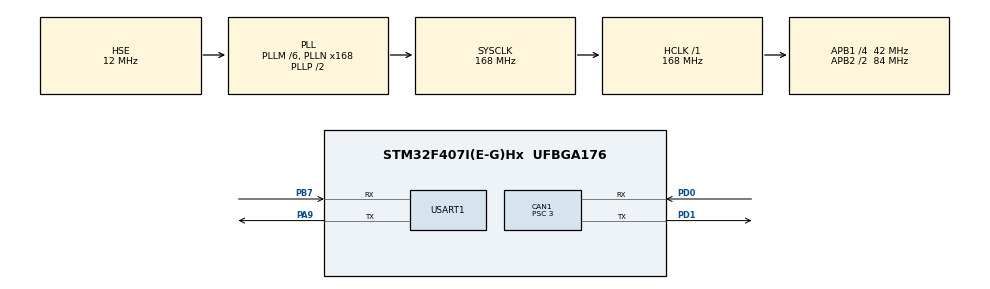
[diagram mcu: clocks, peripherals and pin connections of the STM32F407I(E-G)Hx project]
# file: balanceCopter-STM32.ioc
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CAN1.BS1=CAN_BS1_10TQ
CAN1.BS2=CAN_BS2_3TQ
CAN1.CalculateBaudRate=1000000
CAN1.CalculateTimeBit=1000
CAN1.CalculateTimeQuantum=71.42857142857143
CAN1.Prescaler=3
Dma.Request0=USART1_RX
Dma.USART1_RX.0.Direction=DMA_PERIPH_TO_MEMORY
Dma.USART1_RX.0.FIFOMode=DMA_FIFOMODE_DISABLE
Dma.USART1_RX.0.Instance=DMA2_Stream2
Dma.USART1_RX.0.MemDataAlignment=DMA_MDATAALIGN_BYTE
Dma.USART1_RX.0.MemInc=DMA_MINC_ENABLE
Dma.USART1_RX.0.Mode=DMA_NORMAL
Dma.USART1_RX.0.PeriphDataAlignment=DMA_PDATAALIGN_BYTE
Dma.USART1_RX.0.PeriphInc=DMA_PINC_DISABLE
Dma.USART1_RX.0.Priority=DMA_PRIORITY_MEDIUM
FREERTOS.Tasks01=defaultTask,24,128,StartDefaultTask,Default,NULL,Dynamic,NULL,NULL
FREERTOS.configUSE_NEWLIB_REENTRANT=1
Mcu.Family=STM32F4
Mcu.Name=STM32F407I(E-G)Hx
Mcu.Package=UFBGA176
NVIC.CAN1_RX0_IRQn=true\:7\:0\:true\:false\:true\:true\:true\:true\:true
NVIC.DMA2_Stream2_IRQn=true\:5\:0\:false\:false\:true\:true\:false\:true\:true
NVIC.PriorityGroup=NVIC_PRIORITYGROUP_4
NVIC.USART1_IRQn=true\:6\:0\:true\:false\:true\:true\:true\:true\:true
PA13.Mode=Serial_Wire
PA13.Signal=SYS_JTMS-SWDIO
PA14.Mode=Serial_Wire
PA14.Signal=SYS_JTCK-SWCLK
PA9.Mode=Asynchronous
PA9.Signal=USART1_TX
PB7.Mode=Asynchronous
PB7.Signal=USART1_RX
PD0.Mode=CAN_Activate
PD0.Signal=CAN1_RX
PD1.Mode=CAN_Activate
PD1.Signal=CAN1_TX
PH0-OSC_IN.Mode=HSE-External-Oscillator
PH0-OSC_IN.Signal=RCC_OSC_IN
PH1-OSC_OUT.Mode=HSE-External-Oscillator
PH1-OSC_OUT.Signal=RCC_OSC_OUT
ProjectManager.HeapSize=0x2000
ProjectManager.StackSize=0x2000
ProjectManager.TargetToolchain=STM32CubeIDE
RCC.48MHZClocksFreq_Value=84000000
RCC.AHBFreq_Value=168000000
RCC.APB1CLKDivider=RCC_HCLK_DIV4
RCC.APB1Freq_Value=42000000
RCC.APB1TimFreq_Value=84000000
RCC.APB2CLKDivider=RCC_HCLK_DIV2
RCC.APB2Freq_Value=84000000
RCC.APB2TimFreq_Value=168000000
RCC.CortexFreq_Value=168000000
RCC.HCLKFreq_Value=168000000
RCC.HSE_VALUE=12000000
RCC.HSI_VALUE=16000000
RCC.LSE_VALUE=32768
RCC.PLLM=6
RCC.PLLN=168
RCC.PLLSourceVirtual=RCC_PLLSOURCE_HSE
RCC.SYSCLKFreq_VALUE=168000000
RCC.SYSCLKSource=RCC_SYSCLKSOURCE_PLLCLK
RCC.VCOOutputFreq_Value=336000000
USART1.VirtualMode=VM_ASYNC
VP_FREERTOS_VS_CMSIS_V2.Mode=CMSIS_V2
board=custom

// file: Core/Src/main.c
/* USER CODE BEGIN Header */
/**
  ******************************************************************************
  * @file           : main.c
  * @brief          : Main program body
  ******************************************************************************
  * @attention
  *
  * Copyright (c) 2023 STMicroelectronics.
  * All rights reserved.
  *
  * This software is licensed under terms that can be found in the LICENSE file
  * in the root directory of this software component.
  * If no LICENSE file comes with this software, it is provided AS-IS.
  *
  ******************************************************************************
  */
/* USER CODE END Header */
#include "main.h"
#include "cmsis_os.h"
#include "can.h"
#include "dma.h"
#include "usart.h"
#include "gpio.h"

/* USER CODE BEGIN Includes */
#include "CAN_receive.h"
#include "bsp_can.h"
#include "pid.h"

#include "bsp_uart.h"
/* USER CODE END Includes */

void SystemClock_Config(void);
void MX_FREERTOS_Init(void);

/* USER CODE BEGIN 0 */

//pid_type_def motor_pid_1;            // 澹版槑PID鏁版嵁缁撴�?�锟�????????
//pid_type_def motor_pid_2;

//const fp32 PID[3] = {6.0, 0.3, 0.1 }; // P,I,D鍙傛�?????

/* USER CODE END 0 */

int main(void)
{

  /* MCU Configuration--------------------------------------------------------*/

  /* Reset of all peripherals, Initializes the Flash interface and the Systick. */
  HAL_Init();

  /* Configure the system clock */
  SystemClock_Config();

  /* Initialize all configured peripherals */
  MX_GPIO_Init();
  MX_DMA_Init();
  MX_CAN1_Init();
  MX_USART1_UART_Init();
  /* USER CODE BEGIN 2 */

//  can_filter_init();
//  PID_init(&motor_pid_1, PID_POSITION, PID, 16000, 2000); // PID缁撴瀯浣擄紝PID璁＄畻妯″紡锛孭ID鍙傛暟锛屾渶澶э拷?锟斤紝锟�????????澶锟�???
//  PID_init(&motor_pid_2, PID_POSITION, PID, 16000, 2000); // PID缁撴瀯浣擄紝PID璁＄畻妯″紡锛孭ID鍙傛暟锛屾渶澶э拷?锟斤紝锟�????????澶锟�???
//  motor_data_1 = get_chassis_motor_measure_point(0);      // 鑾峰彇ID锟�???1鍙风殑鐢垫満鏁版嵁鎸囬拡
//  motor_data_2 = get_chassis_motor_measure_point(1);      // 鑾峰彇ID锟�???2鍙风殑鐢垫満鏁版嵁鎸囬拡

  /* USER CODE END 2 */

  /* Init scheduler */
  osKernelInitialize();  /* Call init function for freertos objects (in freertos.c) */
  MX_FREERTOS_Init();

  /* Start scheduler */
  osKernelStart();
  /* We should never get here as control is now taken by the scheduler */
  /* Infinite loop */
  while (1)
  {

    /* USER CODE BEGIN 3 */
//	bsp_uart1_rx();
//	  current_tick = HAL_GetTick();
//
//	  if((current_tick-last_tick)>10)
//	  {
//		  last_tick = current_tick;
//
//		  bsp_uart1_set_wheel_speed(motor_wheel_left, motor_wheel_right);
//		  bsp_uart1_tx();
//	  }

	/////////////////////////////////
//	CAN_get_Motor_Data(&hcan1);
	/////////////////////////////////
//	motor_target_f_left = 1000;
//	motor_target_f_right = 1000;

//	motor_wheel_left =  (float)motor_data_1->speed_rpm *motor_low_pass_alpha + (1-motor_low_pass_alpha) * motor_wheel_left; //�??阶低通滤�??
//	motor_wheel_right =  (float)motor_data_2->speed_rpm *motor_low_pass_alpha + (1-motor_low_pass_alpha) * motor_wheel_right; //�??阶低通滤�??
//	  motor_wheel_left =  motor_data_1->speed_rpm;
//	  motor_wheel_right =  motor_data_2->speed_rpm;
//
//	bsp_uart_get_wheel_speed(&motor_target_f_left, &motor_target_f_right);
//
//	PID_calc(&motor_pid_1,(float)motor_wheel_left, (float)motor_target_f_left); // 璁＄畻鐢垫満pid杈撳嚭锛孭ID缁撴瀯浣擄紝瀹為檯閫熷害锛岃�?�氾�??????锟藉�?????
//	PID_calc(&motor_pid_2, (float)motor_wheel_right, -(float)motor_target_f_right); // 璁＄畻鐢垫満pid杈撳嚭锛孭ID缁撴瀯浣擄紝瀹為檯閫熷害锛岃�?�氾�??????锟藉�?????
//
//	CAN_cmd_chassis(motor_pid_1.out, motor_pid_2.out, 0, 0);            // 鍙戯�??????锟�?�绠楀悗鐨勬帶鍒剁數娴佺粰鐢垫�?????1鍜岀數锟�????????2锛岀數锟�????????3锟�???4鍦ㄨ繖閲屼负0
//
//	HAL_Delay(2);
  }
  /* USER CODE END 3 */
}

void SystemClock_Config(void)
{
  RCC_OscInitTypeDef RCC_OscInitStruct = {0};
  RCC_ClkInitTypeDef RCC_ClkInitStruct = {0};

  /** Configure the main internal regulator output voltage
  */
  __HAL_RCC_PWR_CLK_ENABLE();
  __HAL_PWR_VOLTAGESCALING_CONFIG(PWR_REGULATOR_VOLTAGE_SCALE1);

  /** Initializes the RCC Oscillators according to the specified parameters
  * in the RCC_OscInitTypeDef structure.
  */
  RCC_OscInitStruct.OscillatorType = RCC_OSCILLATORTYPE_HSE;
  RCC_OscInitStruct.HSEState = RCC_HSE_ON;
  RCC_OscInitStruct.PLL.PLLState = RCC_PLL_ON;
  RCC_OscInitStruct.PLL.PLLSource = RCC_PLLSOURCE_HSE;
  RCC_OscInitStruct.PLL.PLLM = 6;
  RCC_OscInitStruct.PLL.PLLN = 168;
  RCC_OscInitStruct.PLL.PLLP = RCC_PLLP_DIV2;
  RCC_OscInitStruct.PLL.PLLQ = 4;
  if (HAL_RCC_OscConfig(&RCC_OscInitStruct) != HAL_OK)
  {
    Error_Handler();
  }

  /** Initializes the CPU, AHB and APB buses clocks
  */
  RCC_ClkInitStruct.ClockType = RCC_CLOCKTYPE_HCLK|RCC_CLOCKTYPE_SYSCLK
                              |RCC_CLOCKTYPE_PCLK1|RCC_CLOCKTYPE_PCLK2;
  RCC_ClkInitStruct.SYSCLKSource = RCC_SYSCLKSOURCE_PLLCLK;
  RCC_ClkInitStruct.AHBCLKDivider = RCC_SYSCLK_DIV1;
  RCC_ClkInitStruct.APB1CLKDivider = RCC_HCLK_DIV4;
  RCC_ClkInitStruct.APB2CLKDivider = RCC_HCLK_DIV2;

  if (HAL_RCC_ClockConfig(&RCC_ClkInitStruct, FLASH_LATENCY_5) != HAL_OK)
  {
    Error_Handler();
  }
}

void Error_Handler(void)
{
  __disable_irq();
  while (1)
  {
  }
}

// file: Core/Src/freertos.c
/* USER CODE BEGIN Header */
/**
  ******************************************************************************
  * File Name          : freertos.c
  * Description        : Code for freertos applications
  ******************************************************************************
  * @attention
  *
  * Copyright (c) 2023 STMicroelectronics.
  * All rights reserved.
  *
  * This software is licensed under terms that can be found in the LICENSE file
  * in the root directory of this software component.
  * If no LICENSE file comes with this software, it is provided AS-IS.
  *
  ******************************************************************************
  */
/* USER CODE END Header */

#include "FreeRTOS.h"
#include "task.h"
#include "main.h"
#include "cmsis_os.h"

/* USER CODE BEGIN Includes */
#include "CAN_receive.h"
#include "bsp_can.h"
#include "pid.h"

#include "bsp_uart.h"
/* USER CODE END Includes */

/* USER CODE BEGIN Variables */

int16_t motor_target_f_left_int;
int16_t motor_target_f_right_int;

int16_t motor_wheel_left_int;
int16_t motor_wheel_right_int;

const motor_measure_t* motor_data_left; // 澹版槑鐢垫満缁撴瀯浣撴寚锟�???
const motor_measure_t* motor_data_right;

/* USER CODE END Variables */
/* Definitions for defaultTask */
osThreadId_t defaultTaskHandle;
const osThreadAttr_t defaultTask_attributes = {
  .name = "defaultTask",
  .stack_size = 128 * 4,
  .priority = (osPriority_t) osPriorityNormal,
};

/* USER CODE BEGIN FunctionPrototypes */
osThreadId_t canTaskHandle;
const osThreadAttr_t canTask_attributes = {
  .name = "canTask",
  .stack_size = 512 * 4,
  .priority = (osPriority_t) osPriorityNormal,
};
void canTask(void *argument);

osThreadId_t uartTaskHandle;
const osThreadAttr_t uartTask_attributes = {
  .name = "uartTask",
  .stack_size = 512 * 4,
  .priority = (osPriority_t) osPriorityNormal,
};
void uartTask(void *argument);

/* USER CODE END FunctionPrototypes */

void StartDefaultTask(void *argument);

void MX_FREERTOS_Init(void); /* (MISRA C 2004 rule 8.1) */

void MX_FREERTOS_Init(void) {

  /* Create the thread(s) */
  /* creation of defaultTask */
  defaultTaskHandle = osThreadNew(StartDefaultTask, NULL, &defaultTask_attributes);

  /* USER CODE BEGIN RTOS_THREADS */
  /* add threads, ... */
  canTaskHandle = osThreadNew(canTask, NULL, &canTask_attributes);
  uartTaskHandle = osThreadNew(uartTask, NULL, &uartTask_attributes);

  /* USER CODE END RTOS_THREADS */

}

void StartDefaultTask(void *argument)
{
  /* USER CODE BEGIN StartDefaultTask */
  /* Infinite loop */
  for(;;)
  {
    osDelay(1000);
  }
  /* USER CODE END StartDefaultTask */
}

/* USER CODE BEGIN Application */
void canTask(void *argument)
{
	can_filter_init();

	motor_data_left = get_chassis_motor_measure_point(0);      // 鑾峰彇ID锟�???1鍙风殑鐢垫満鏁版嵁鎸囬拡
	motor_data_right = get_chassis_motor_measure_point(1);      // 鑾峰彇ID锟�???2鍙风殑鐢垫満鏁版嵁鎸囬拡

	motor_target_f_left_int = 0;
	motor_target_f_right_int = 0;

  for(;;)
  {
	  motor_wheel_left_int =  motor_data_left->speed_rpm;
	  motor_wheel_right_int =  -motor_data_right->speed_rpm;

	  bsp_uart_get_target_wheel_speed(&motor_target_f_left_int, &motor_target_f_right_int);

	  CAN_cmd_chassis(motor_target_f_left_int, -motor_target_f_right_int, 0, 0);

	  osDelay(2);
  }
  /* USER CODE END StartDefaultTask */
}

void uartTask(void *argument)
{
   bsp_uart1_init();

  for(;;)
  {
	  bsp_uart1_get_feedback_wheel_speed(motor_data_left->speed_rpm, -motor_data_right->speed_rpm);
	  bsp_uart1_tx();

	  osDelay(3);
  }
  /* USER CODE END StartDefaultTask */
}
/* USER CODE END Application */
